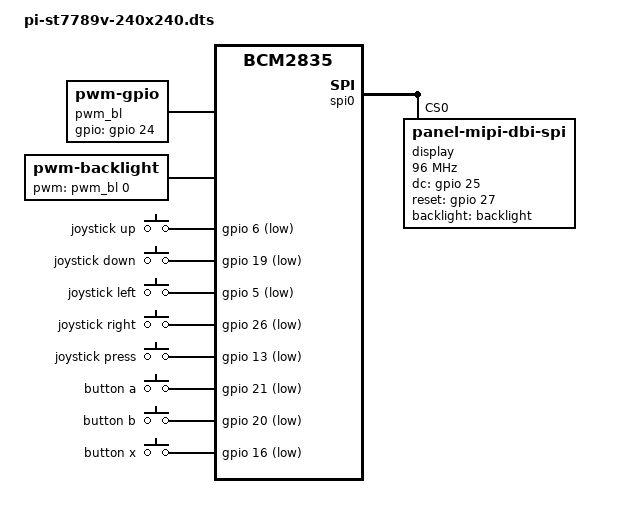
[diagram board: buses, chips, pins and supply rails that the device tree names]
/dts-v1/;
/plugin/;

/ {
    compatible = "brcm,bcm2835";

    fragment@0 {
        target = <&spi0>;
        __overlay__ {
            #address-cells = <1>;
            #size-cells = <0>;
            status = "okay";

            display@0 {
                compatible = "panel-mipi-dbi-spi";
                reg = <0>;
                spi-max-frequency = <96000000>; /* drop to 64MHz if pixel corruption */
                spi-tx-bus-width = <1>;
                dc-gpios = <&gpio 25 0>;
                reset-gpios = <&gpio 27 0>;
                backlight = <&backlight>;
                width-mm = <24>;
                height-mm = <24>;

                panel-timing {
                    hactive = <240>;
                    vactive = <240>;
                    hback-porch = <0>;
                    vback-porch = <0>;
                    hfront-porch = <0>;
                    vfront-porch = <0>;
                    hsync-len = <0>;
                    vsync-len = <0>;
                    clock-frequency = <0>;
                };
            };
        };
    };

    /* declare pull-ups via pinctrl - applied by kernel, survives firmware resets */
    fragment@1 {
        target = <&gpio>;
        __overlay__ {
            button_pins: button_pins {
                brcm,pins = <6 19 5 26 13 21 20 16>;
                brcm,function = <0>;  /* INPUT */
                brcm,pull = <2>;      /* PULL_UP */
            };

            /* set GPIO24 to ALT5 = PWM0 is NOT available on GPIO24.
               GPIO24 has no hardware PWM alt function, so we use
               pwm-gpio (software PWM) instead — no pinctrl needed */
        };
    };

    fragment@2 {
        target-path = "/";
        __overlay__ {
            /* Control brightness. Check max_brightness: cat /sys/class/backlight/backlight/max_brightness */
            /* echo 4 > /sys/class/backlight/backlight/brightness   # ~25% */
            /* echo 8 > /sys/class/backlight/backlight/brightness   # 100% */
            /* echo 0 > /sys/class/backlight/backlight/brightness   # off  */
            /* Consoleblanking also turn off the lcd: echo 1 > /sys/class/graphics/fb1/blank  */

            /* Software PWM on GPIO 24 */
            pwm_bl: pwm-gpio {
                compatible = "pwm-gpio";
                #pwm-cells = <3>;
                gpios = <&gpio 24 0>;
            };

            backlight: backlight {
                compatible = "pwm-backlight";
                pwms = <&pwm_bl 0 50000 0>; /* channel 0, 50µs period = 20kHz, normal polarity */
                brightness-levels = <0 4 8 16 32 64 128 192 255>;
                default-brightness-level = <8>; /* index 8 = 255 = full */
            };

            gpio-keys {
                compatible = "gpio-keys";
                autorepeat;
                pinctrl-names = "default";
                pinctrl-0 = <&button_pins>;

                /* file:///usr/include/linux/input-event-codes.h */
                up {
                    label = "joystick up";
                    linux,code = <103>;   /* KEY_UP */
                    gpios = <&gpio 6 1>;  /* active low */
                    debounce-interval = <20>;
                };
                down {
                    label = "joystick down";
                    linux,code = <108>;   /* KEY_DOWN */
                    gpios = <&gpio 19 1>;
                    debounce-interval = <20>;
                };
                left {
                    label = "joystick left";
                    linux,code = <105>;   /* KEY_LEFT */
                    gpios = <&gpio 5 1>;
                    debounce-interval = <20>;
                };
                right {
                    label = "joystick right";
                    linux,code = <106>;   /* KEY_RIGHT */
                    gpios = <&gpio 26 1>;
                    debounce-interval = <20>;
                };
                press {
                    label = "joystick press";
                    linux,code = <28>;    /* KEY_ENTER */
                    gpios = <&gpio 13 1>;
                    debounce-interval = <20>;
                };
                a {
                    label = "button a";
                    linux,code = <1>;     /* KEY_ESC */
                    gpios = <&gpio 21 1>;
                    debounce-interval = <20>;
                };
                b {
                    label = "button b";
                    linux,code = <44>;    /* KEY_Z */
                    gpios = <&gpio 20 1>;
                    debounce-interval = <20>;
                };
                x {
                    label = "button x";
                    linux,code = <45>;    /* KEY_X */
                    gpios = <&gpio 16 1>;
                    debounce-interval = <20>;
                };
            };
        };
    };
};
